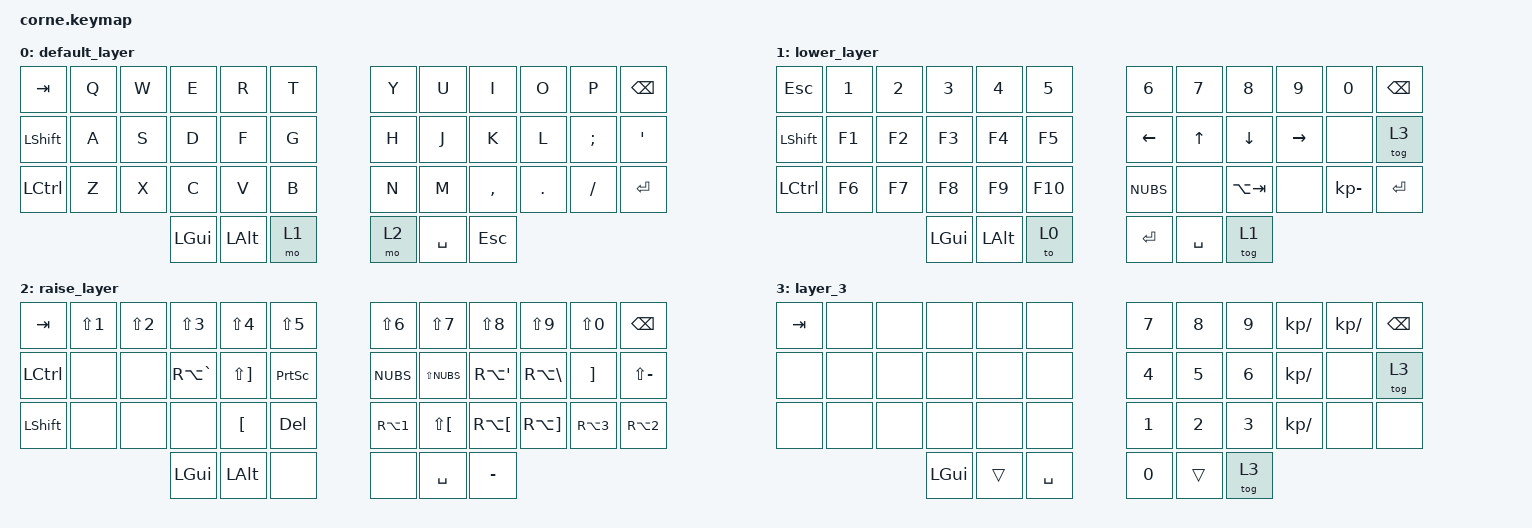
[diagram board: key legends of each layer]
#include <behaviors.dtsi>
#include <dt-bindings/zmk/bt.h>
#include <dt-bindings/zmk/ext_power.h>
#include <dt-bindings/zmk/keys.h>

/ {
    combos {
        compatible = "zmk,combos";

        hj_asterisk {
            bindings = <&kp ASTERISK>;
            key-positions = <18 19>;
        };

        nm_plus {
            bindings = <&kp PLUS>;
            key-positions = <30 31>;
        };
    };

    behaviors {
        td_lshft_caps: td_lshft_caps {
            compatible = "zmk,behavior-tap-dance";
            label = "TD_LSHFT_CAPS";
            #binding-cells = <0>;
            tapping-term-ms = <200>;
            bindings = <&kp LSHFT>, <&kp CAPS>;
        };
    };

    keymap {
        compatible = "zmk,keymap";

        default_layer {
            bindings = <
&kp TAB         &kp Q  &kp W  &kp E     &kp R  &kp T        &kp Y    &kp U  &kp I       &kp O    &kp P     &kp BSPC
&kp LSHFT       &kp A  &kp S  &kp D     &kp F  &kp G        &kp H    &kp J  &kp K       &kp L    &kp SEMI  &kp SINGLE_QUOTE
&kp LCTRL       &kp Z  &kp X  &kp C     &kp V  &kp B        &kp N    &kp M  &kp COMMA   &kp DOT  &kp FSLH  &kp RET
                          &kp LGUI  &kp LALT  &mo 1        &mo 2  &kp SPACE  &kp ESC
            >;
        };

        lower_layer {
            bindings = <
&kp ESC           &kp NUMBER_1         &kp NUMBER_2         &kp NUMBER_3         &kp NUMBER_4         &kp NUMBER_5         &kp NUMBER_6         &kp NUMBER_7         &kp NUMBER_8         &kp NUMBER_9         &kp NUMBER_0         &kp BSPC
&kp LSHFT         &kp F1               &kp F2               &kp F3               &kp F4               &kp F5               &kp LEFT_ARROW       &kp UP_ARROW         &kp DOWN_ARROW       &kp RIGHT_ARROW      &none                &tog 3
&kp LCTRL         &kp F6               &kp F7               &kp F8               &kp F9               &kp F10              &kp NUBS             &none                &kp LA(TAB)          &none                &kp KP_MINUS         &kp RET
                                      &kp LGUI             &kp LALT             &to 0                                   &kp RET             &kp SPACE           &tog 1
            >;
        };

        raise_layer {
            bindings = <
&kp TAB           &kp LS(NUMBER_1)     &kp LS(NUMBER_2)     &kp LS(NUMBER_3)     &kp LS(NUMBER_4)     &kp LS(NUMBER_5)     &kp LS(NUMBER_6)     &kp LS(NUMBER_7)     &kp LS(NUMBER_8)     &kp LS(NUMBER_9)     &kp LS(NUMBER_0)     &kp BSPC
&kp LCTRL         &none                &none                &kp RA(GRAVE)        &kp LS(RBKT)         &kp PSCRN            &kp NUBS             &kp LS(NUBS)         &kp RA(SINGLE_QUOTE) &kp RA(BSLH)         &kp RBKT             &kp LS(MINUS)
&kp LSHFT         &none                &none                &none                &kp LBKT             &kp DEL              &kp RA(NUMBER_1)     &kp LS(LBKT)         &kp RA(LBKT)         &kp RA(RBKT)         &kp RA(NUMBER_3)     &kp RA(NUMBER_2)
                                      &kp LGUI             &kp LALT             &none                                   &none               &kp SPACE           &kp MINUS
            >;
        };

        layer_3 {
            bindings = <
&kp TAB           &none                &none                &none                &none                &none                &kp N7               &kp N8               &kp N9               &kp KP_DIVIDE        &kp KP_DIVIDE        &kp BSPC
&none             &none                &none                &none                &none                &none                &kp N4               &kp N5               &kp N6               &kp KP_DIVIDE        &none                &tog 3
&none             &none                &none                &none                &none                &none                &kp N1               &kp N2               &kp N3               &kp KP_DIVIDE        &none                &none
                                      &kp LGUI             &trans               &kp SPACE                               &kp N0              &trans              &tog 3
            >;
        };
    };

    conditional_layers {
        compatible = "zmk,conditional-layers";

        extra_layer {
            if-layers = <1 2>;
            then-layer = <3>;
        };
    };
};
